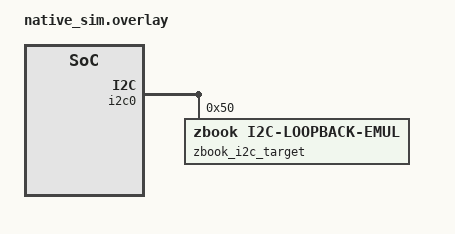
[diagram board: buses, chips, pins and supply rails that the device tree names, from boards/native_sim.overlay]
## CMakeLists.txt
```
# SPDX-License-Identifier: Apache-2.0
#
# Copyright (c) Centro de Inovacao EDGE - 2026

cmake_minimum_required(VERSION 3.20.0)
include(${CMAKE_CURRENT_SOURCE_DIR}/../../unit.cmake)
zbook_unit_test(i2c)

target_sources(app PRIVATE ${CMAKE_CURRENT_SOURCE_DIR}/src/zbook_i2c_loopback_emul.c)
```

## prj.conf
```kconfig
CONFIG_ZTEST=y
CONFIG_ZBOOK_INTERFACE_PROTOCOLS=y
CONFIG_ZBOOK_INTERFACE_PROTOCOLS_I2C=y
```

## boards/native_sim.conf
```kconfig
CONFIG_EMUL=y
CONFIG_I2C=y
```

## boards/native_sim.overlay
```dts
&i2c0 {
	zbook_i2c_target: zbook_i2c_target@50 {
		compatible = "zbook,i2c-loopback-emul";
		reg = <0x50>;
	};
};
```

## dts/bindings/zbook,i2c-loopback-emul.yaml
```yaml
description: ZBook I2C loopback emulator (unit test only)

compatible: "zbook,i2c-loopback-emul"

include: i2c-device.yaml
```

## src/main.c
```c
/*******************************************************************
 * @file main.c
 *
 * @brief Unit tests for the zbook I2C bus interface.
 * @author Matheus Macário dos Santos (matheus.macario@edge.ufal.br)
 * @version 0.1
 * @date 18/09/2026
 *
 * @copyright Copyright (c) Centro de Inovacao EDGE - 2026
 *
 *******************************************************************/

#include <errno.h>
#include <zephyr/ztest.h>
#include <protocols/zbook_i2c.h>

#include "zbook_i2c_loopback_emul.h"

/* Matches boards/native_sim.overlay's zbook_i2c_target@50 -- a real,
 * ACKing device on the emulated bus, backed by zbook_i2c_loopback_emul.c.
 */
#define ZBOOK_I2C_TEST_ADDR 0x50

/* Reserved by the I2C spec (0x78-0x7F) -- no compliant device may claim
 * this address, so it doubles as a guaranteed-empty target for exercising
 * the "nothing answered" error path.
 */
#define ZBOOK_I2C_RESERVED_ADDR 0x7F

ZTEST_SUITE(zbook_i2c, NULL, NULL, NULL, NULL, NULL);

ZTEST(zbook_i2c, test_00_not_ready_before_init)
{
	uint8_t byte = 0;

	zassert_equal(-ENODEV, zbook_i2c_read(ZBOOK_I2C_TEST_ADDR, &byte, sizeof(byte)));
}

ZTEST(zbook_i2c, test_00a_configure_before_init)
{
	struct zbook_i2c_cfg cfg = {.speed = ZBOOK_I2C_SPEED_STANDARD_100K};

	zassert_equal(-ENODEV, zbook_i2c_configure(&cfg));
}

ZTEST(zbook_i2c, test_01_init_ok)
{
	zassert_ok(zbook_i2c_init());
}

ZTEST(zbook_i2c, test_configure_invalid_args)
{
	struct zbook_i2c_cfg cfg = {.speed = (enum zbook_i2c_speed)99};

	zassert_equal(-EINVAL, zbook_i2c_configure(NULL));
	zassert_equal(-EINVAL, zbook_i2c_configure(&cfg));
}

ZTEST(zbook_i2c, test_configure_accepts_every_supported_speed)
{
	const enum zbook_i2c_speed speeds[] = {
		ZBOOK_I2C_SPEED_STANDARD_100K,
		ZBOOK_I2C_SPEED_FAST_400K,
		ZBOOK_I2C_SPEED_FAST_PLUS_1M,
	};

	for (size_t i = 0; i < ARRAY_SIZE(speeds); i++) {
		const struct zbook_i2c_cfg cfg = {.speed = speeds[i]};

		zassert_ok(zbook_i2c_configure(&cfg), "configure(speed=%d) failed", speeds[i]);
	}
}

ZTEST(zbook_i2c, test_write_invalid_args)
{
	uint8_t byte = 0;

	zassert_equal(-EINVAL, zbook_i2c_write(ZBOOK_I2C_TEST_ADDR, NULL, 1));
	zassert_equal(-EINVAL, zbook_i2c_write(ZBOOK_I2C_TEST_ADDR, &byte, 0));
}

ZTEST(zbook_i2c, test_write_captures_bytes)
{
	uint8_t tx[3] = {0x01, 0x02, 0x03};
	uint8_t captured[3] = {0};

	zbook_i2c_test_emul_reset();
	zassert_ok(zbook_i2c_write(ZBOOK_I2C_TEST_ADDR, tx, sizeof(tx)));
	zassert_equal(sizeof(tx), zbook_i2c_test_emul_last_write(captured, sizeof(captured)));
	zassert_mem_equal(tx, captured, sizeof(tx));
}

ZTEST(zbook_i2c, test_read_invalid_args)
{
	uint8_t byte = 0;

	zassert_equal(-EINVAL, zbook_i2c_read(ZBOOK_I2C_TEST_ADDR, NULL, 1));
	zassert_equal(-EINVAL, zbook_i2c_read(ZBOOK_I2C_TEST_ADDR, &byte, 0));
}

ZTEST(zbook_i2c, test_read_returns_canned_pattern)
{
	uint8_t rx[4] = {0};

	zbook_i2c_test_emul_set_read_byte(0x5A);
	zassert_ok(zbook_i2c_read(ZBOOK_I2C_TEST_ADDR, rx, sizeof(rx)));
	for (size_t i = 0; i < sizeof(rx); i++) {
		zassert_equal(0x5A, rx[i]);
	}
}

ZTEST(zbook_i2c, test_write_read_invalid_args)
{
	uint8_t byte = 0;

	zassert_equal(-EINVAL, zbook_i2c_write_read(ZBOOK_I2C_TEST_ADDR, NULL, 1, &byte, 1));
	zassert_equal(-EINVAL, zbook_i2c_write_read(ZBOOK_I2C_TEST_ADDR, &byte, 0, &byte, 1));
	zassert_equal(-EINVAL, zbook_i2c_write_read(ZBOOK_I2C_TEST_ADDR, &byte, 1, NULL, 1));
	zassert_equal(-EINVAL, zbook_i2c_write_read(ZBOOK_I2C_TEST_ADDR, &byte, 1, &byte, 0));
}

ZTEST(zbook_i2c, test_write_read_combines_write_and_read)
{
	uint8_t reg = 0x10;
	uint8_t rx[2] = {0};
	uint8_t captured[1] = {0};

	zbook_i2c_test_emul_reset();
	zbook_i2c_test_emul_set_read_byte(0x7E);
	zassert_ok(zbook_i2c_write_read(ZBOOK_I2C_TEST_ADDR, &reg, sizeof(reg), rx, sizeof(rx)));

	zassert_equal(sizeof(reg), zbook_i2c_test_emul_last_write(captured, sizeof(captured)));
	zassert_equal(reg, captured[0]);
	zassert_equal(0x7E, rx[0]);
	zassert_equal(0x7E, rx[1]);
}

ZTEST(zbook_i2c, test_write_with_nothing_attached_fails)
{
	uint8_t byte = 0;

	zassert_not_equal(zbook_i2c_write(ZBOOK_I2C_RESERVED_ADDR, &byte, sizeof(byte)), 0,
			   "write() must fail when no device acks");
}

ZTEST(zbook_i2c, test_read_with_nothing_attached_fails)
{
	uint8_t byte = 0;

	zassert_not_equal(zbook_i2c_read(ZBOOK_I2C_RESERVED_ADDR, &byte, sizeof(byte)), 0,
			   "read() must fail when no device acks");
}

ZTEST(zbook_i2c, test_write_read_with_nothing_attached_fails)
{
	uint8_t tx = 0;
	uint8_t rx = 0;

	zassert_not_equal(
		zbook_i2c_write_read(ZBOOK_I2C_RESERVED_ADDR, &tx, sizeof(tx), &rx, sizeof(rx)), 0,
		"write_read() must fail when no device acks");
}
```

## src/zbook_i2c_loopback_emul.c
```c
/*******************************************************************
 * @file zbook_i2c_loopback_emul.c
 *
 * @brief I2C loopback emulator backing the "zbook_i2c_target" devicetree node for unit tests.
 * @author Matheus Macário dos Santos (matheus.macario@edge.ufal.br)
 * @version 0.1
 * @date 18/09/2026
 *
 * @copyright Copyright (c) Centro de Inovacao EDGE - 2026
 *
 *******************************************************************/

#include "zbook_i2c_loopback_emul.h"

#include <string.h>
#include <zephyr/device.h>
#include <zephyr/drivers/emul.h>
#include <zephyr/drivers/i2c.h>
#include <zephyr/drivers/i2c_emul.h>
#include <zephyr/sys/util.h>

#define ZBOOK_I2C_TEST_NODE DT_NODELABEL(zbook_i2c_target)
#define MAX_CAPTURE_LEN     32

struct zbook_i2c_loopback_data {
	uint8_t last_write[MAX_CAPTURE_LEN];
	size_t last_write_len;
	uint8_t read_byte;
};

static struct zbook_i2c_loopback_data emul_data;

void zbook_i2c_test_emul_reset(void)
{
	memset(&emul_data, 0, sizeof(emul_data));
}

size_t zbook_i2c_test_emul_last_write(uint8_t *out, size_t max_len)
{
	size_t len = MIN(emul_data.last_write_len, max_len);

	memcpy(out, emul_data.last_write, len);

	return len;
}

void zbook_i2c_test_emul_set_read_byte(uint8_t value)
{
	emul_data.read_byte = value;
}

static void capture_write(struct zbook_i2c_loopback_data *data, struct i2c_msg *msg)
{
	size_t len = MIN(msg->len, MAX_CAPTURE_LEN);

	memcpy(data->last_write, msg->buf, len);
	data->last_write_len = len;
}

static void fill_read(struct zbook_i2c_loopback_data *data, struct i2c_msg *msg)
{
	memset(msg->buf, data->read_byte, msg->len);
}

/* On a write-only transfer this just records the bytes, on a read-only
 * transfer it stuffs the buffer with the fixed byte set via
 * zbook_i2c_test_emul_set_read_byte(), and on a write-then-read transfer
 * (zbook_i2c_write_read()'s repeated-start pattern) it does both -- records
 * the write half and answers the read half with the same canned byte.
 */
static int zbook_i2c_loopback_transfer(const struct emul *target, struct i2c_msg *msgs,
					int num_msgs, int addr)
{
	struct zbook_i2c_loopback_data *data = target->data;

	ARG_UNUSED(addr);

	if (num_msgs < 1 || num_msgs > 2) {
		return -EIO;
	}

	if (msgs[0].flags & I2C_MSG_READ) {
		fill_read(data, &msgs[0]);
	} else {
		capture_write(data, &msgs[0]);
	}

	if (num_msgs == 2) {
		if (!(msgs[1].flags & I2C_MSG_READ)) {
			return -EIO;
		}
		fill_read(data, &msgs[1]);
	}

	return 0;
}

static int zbook_i2c_loopback_init(const struct emul *target, const struct device *parent)
{
	ARG_UNUSED(target);
	ARG_UNUSED(parent);

	return 0;
}

/*
 * zbook_i2c has no production driver of its own at this node (it's a bare
 * test target, only ever touched via zbook_i2c_write/read/write_read with a
 * runtime address) so there is normally no struct device here. EMUL_DT_DEFINE()'s
 * .dev = DEVICE_DT_GET(node_id) is dereferenced by emul_init_for_bus() to
 * match this node by name, so this no-op device exists purely to satisfy
 * the emulator framework in this test binary.
 */
static int zbook_i2c_loopback_dev_init(const struct device *dev)
{
	ARG_UNUSED(dev);

	return 0;
}

DEVICE_DT_DEFINE(ZBOOK_I2C_TEST_NODE, zbook_i2c_loopback_dev_init, NULL, NULL, NULL, POST_KERNEL,
		 CONFIG_KERNEL_INIT_PRIORITY_DEVICE, NULL);

static const struct i2c_emul_api zbook_i2c_loopback_api = {
	.transfer = zbook_i2c_loopback_transfer,
};

EMUL_DT_DEFINE(ZBOOK_I2C_TEST_NODE, zbook_i2c_loopback_init, &emul_data, NULL,
	       &zbook_i2c_loopback_api, NULL);
```

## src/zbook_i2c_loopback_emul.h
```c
/*******************************************************************
 * @file zbook_i2c_loopback_emul.h
 *
 * @brief I2C loopback emulator test helpers for zbook_i2c's unit tests.
 * @author Matheus Macário dos Santos (matheus.macario@edge.ufal.br)
 * @version 0.1
 * @date 18/09/2026
 *
 * @copyright Copyright (c) Centro de Inovacao EDGE - 2026
 *
 *******************************************************************/

#ifndef ZBOOK_I2C_LOOPBACK_EMUL_H
#define ZBOOK_I2C_LOOPBACK_EMUL_H

#include <stddef.h>
#include <stdint.h>

/** @brief Reset all captured state (last write, read byte) to zero. */
void zbook_i2c_test_emul_reset(void);

/**
 * @brief Copy the bytes captured from the last write half of a transfer
 * (a plain zbook_i2c_write(), or the write half of zbook_i2c_write_read()).
 *
 * @param out     Destination buffer.
 * @param max_len Capacity of @p out.
 * @return Number of bytes copied.
 */
size_t zbook_i2c_test_emul_last_write(uint8_t *out, size_t max_len);

/**
 * @brief Byte value the emulator stuffs into every read half of a transfer
 * (a plain zbook_i2c_read(), or the read half of zbook_i2c_write_read()).
 */
void zbook_i2c_test_emul_set_read_byte(uint8_t value);

#endif /* ZBOOK_I2C_LOOPBACK_EMUL_H */
```
